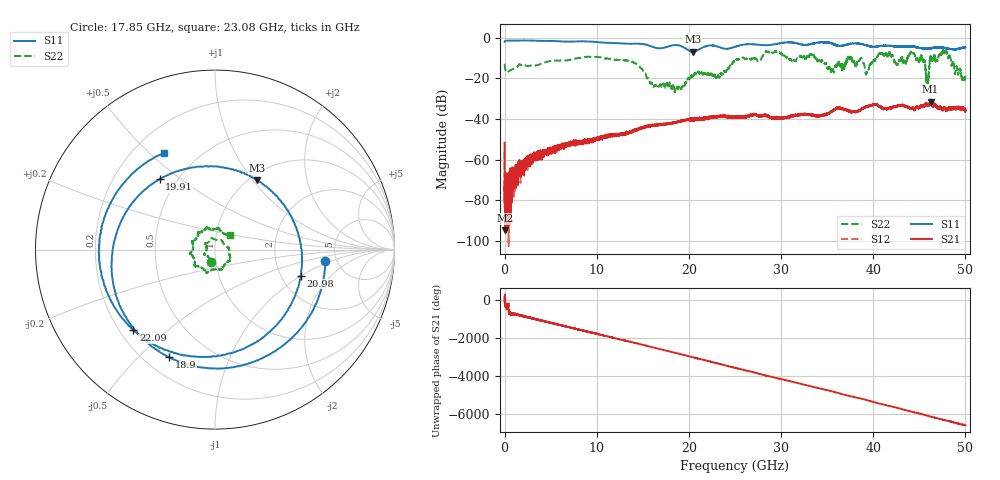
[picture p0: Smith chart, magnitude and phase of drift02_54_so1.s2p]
!Created with skrf (http://scikit-rf.org).
# Hz S RI R 50.0
!freq ReS11 ImS11 ReS21 ImS21 ReS12 ImS12 ReS22 ImS22
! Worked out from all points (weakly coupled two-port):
!   10001 points, 300 kHz to 50 GHz, reference 50 ohm
!   highest |S21| = -31.45 dB at 46.23 GHz (marker M1); lowest = -94.7 dB at 60.3 MHz (marker M2)
!   lowest |S11| = -6.9 dB at 20.41 GHz (marker M3), VSWR 2.64, Z = 54.3 + j52.4 ohm
!   |S11| at or under -10 dB: nowhere
!   |S22| runs from -26.8 to -6.0 dB; largest |S21 - S12| = 0.0029
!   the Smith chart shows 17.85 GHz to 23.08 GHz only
!   S11 on the Smith chart (normalised r, x): 17.85 GHz: 4.03, -0.86; 18.9 GHz: 0.30, -0.62; 19.91 GHz: 0.40, +0.42; 20.98 GHz: 2.55, -0.99; 22.09 GHz: 0.26, -0.39; 23.08 GHz: 0.33, +0.56
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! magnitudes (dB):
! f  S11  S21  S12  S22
! 300 kHz  -2.1  -51.7  -56.1  -12.9
! 60.3 MHz  -1.6  -94.7  -80.0  -15.3
! 275.3 MHz  -1.4  -70.3  -74.6  -17.0
! 3.065 GHz  -1.4  -58.0  -58.4  -13.5
! 8.335 GHz  -1.7  -51.6  -51.3  -9.7
! 13.71 GHz  -2.9  -46.1  -46.5  -11.7
! 16.67 GHz  -5.2  -42.9  -43.2  -23.6
! 17.85 GHz  -4.2  -42.5  -42.3  -22.9
! 18.9 GHz  -3.7  -41.4  -41.2  -24.0
! 19.91 GHz  -6.0  -40.3  -40.4  -19.9
! 20.41 GHz  -6.9  -40.3  -40.3  -19.1
! 20.98 GHz  -6.0  -39.7  -39.9  -16.7
! 22.09 GHz  -3.9  -39.3  -39.5  -17.6
! 23.08 GHz  -4.3  -38.4  -39.0  -18.8
! 25 GHz  -4.4  -38.8  -39.3  -11.6
! 33.34 GHz  -3.0  -37.7  -37.9  -8.4
! 39.33 GHz  -3.8  -33.7  -33.8  -16.6
! 41.67 GHz  -3.9  -34.8  -34.7  -7.7
! 45.86 GHz  -5.4  -32.8  -32.6  -19.1
! 46.23 GHz  -5.2  -31.4  -31.9  -9.6
! 47.75 GHz  -4.9  -34.5  -34.9  -7.0
! 50 GHz  -4.7  -35.3  -35.3  -19.0
